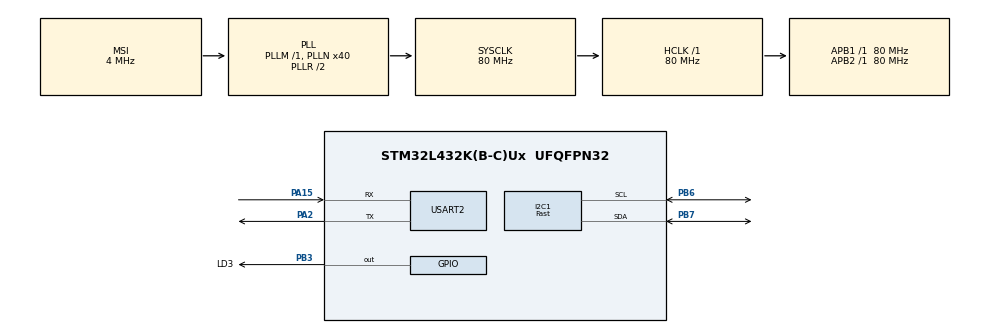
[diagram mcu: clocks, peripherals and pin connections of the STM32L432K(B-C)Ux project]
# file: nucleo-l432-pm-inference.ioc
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I2C1.I2C_Speed_Mode=I2C_Fast
I2C1.Timing=0x00F12981
Mcu.Family=STM32L4
Mcu.Name=STM32L432K(B-C)Ux
Mcu.Package=UFQFPN32
NVIC.PriorityGroup=NVIC_PRIORITYGROUP_4
PA13\ (JTMS-SWDIO).Mode=Serial_Wire
PA13\ (JTMS-SWDIO).Signal=SYS_JTMS-SWDIO
PA14\ (JTCK-SWCLK).Mode=Serial_Wire
PA14\ (JTCK-SWCLK).Signal=SYS_JTCK-SWCLK
PA15\ (JTDI).Mode=Asynchronous
PA15\ (JTDI).Signal=USART2_RX
PA2.Mode=Asynchronous
PA2.Signal=USART2_TX
PB3\ (JTDO-TRACESWO).GPIO_Label=LD3
PB3\ (JTDO-TRACESWO).Signal=GPIO_Output
PB6.GPIO_Pu=GPIO_NOPULL
PB6.Mode=I2C
PB6.Signal=I2C1_SCL
PB7.GPIO_Pu=GPIO_NOPULL
PB7.Mode=I2C
PB7.Signal=I2C1_SDA
PC14-OSC32_IN\ (PC14).Mode=LSE-External-Oscillator
PC14-OSC32_IN\ (PC14).Signal=RCC_OSC32_IN
PC15-OSC32_OUT\ (PC15).Mode=LSE-External-Oscillator
PC15-OSC32_OUT\ (PC15).Signal=RCC_OSC32_OUT
ProjectManager.HeapSize=0x200
ProjectManager.StackSize=0x400
ProjectManager.TargetToolchain=STM32CubeIDE
RCC.AHBFreq_Value=80000000
RCC.APB1Freq_Value=80000000
RCC.APB1TimFreq_Value=80000000
RCC.APB2Freq_Value=80000000
RCC.APB2TimFreq_Value=80000000
RCC.CortexFreq_Value=80000000
RCC.HCLKFreq_Value=80000000
RCC.HSE_VALUE=8000000
RCC.HSI48_VALUE=48000000
RCC.HSI_VALUE=16000000
RCC.MSI_VALUE=4000000
RCC.PLLN=40
RCC.SYSCLKFreq_VALUE=80000000
RCC.SYSCLKSource=RCC_SYSCLKSOURCE_PLLCLK
RCC.VCOOutputFreq_Value=160000000
STMicroelectronics.X-CUBE-AI.10.1.0.ActivationBufferSizeList=2628
STMicroelectronics.X-CUBE-AI.10.1.0.ActivationBuffers=pool0
STMicroelectronics.X-CUBE-AI.10.1.0.ActivationNames=pool0
STMicroelectronics.X-CUBE-AI.10.1.0.ActivationSizes=AI_NETWORK_DATA_ACTIVATION_1_SIZE
STMicroelectronics.X-CUBE-AI.10.1.0.HeapSize=0x800
STMicroelectronics.X-CUBE-AI.10.1.0.InternalRamActivationBufferMaxSize=AI_NETWORK_DATA_ACTIVATIONS_SIZE
STMicroelectronics.X-CUBE-AI.10.1.0.LatestDirectoryUsed-b5e51863015c6a7fd8762baf792bc0065dcf8366301506c651666bcf39f2033d=C\:\\Users\\bausch\\Downloads
STMicroelectronics.X-CUBE-AI.10.1.0.MaximumNumberOfInputLayer=1
STMicroelectronics.X-CUBE-AI.10.1.0.MaximumNumberOfOutputLayer=1
STMicroelectronics.X-CUBE-AI.10.1.0.MaximumSizeOfInputLayer=1
STMicroelectronics.X-CUBE-AI.10.1.0.MaximumSizeOfOutputLayer=1
STMicroelectronics.X-CUBE-AI.10.1.0.ModelActualCompression-b5e51863015c6a7fd8762baf792bc0065dcf8366301506c651666bcf39f2033d=0.0
STMicroelectronics.X-CUBE-AI.10.1.0.ModelCompression-b5e51863015c6a7fd8762baf792bc0065dcf8366301506c651666bcf39f2033d=None
STMicroelectronics.X-CUBE-AI.10.1.0.ModelFlashOccupation-b5e51863015c6a7fd8762baf792bc0065dcf8366301506c651666bcf39f2033d=29796
STMicroelectronics.X-CUBE-AI.10.1.0.ModelHashList=b5e51863015c6a7fd8762baf792bc0065dcf8366301506c651666bcf39f2033d
STMicroelectronics.X-CUBE-AI.10.1.0.ModelKind-b5e51863015c6a7fd8762baf792bc0065dcf8366301506c651666bcf39f2033d=TFLITE
STMicroelectronics.X-CUBE-AI.10.1.0.ModelMacc-b5e51863015c6a7fd8762baf792bc0065dcf8366301506c651666bcf39f2033d=4928
STMicroelectronics.X-CUBE-AI.10.1.0.ModelName-b5e51863015c6a7fd8762baf792bc0065dcf8366301506c651666bcf39f2033d=network
STMicroelectronics.X-CUBE-AI.10.1.0.ModelNameList=network
STMicroelectronics.X-CUBE-AI.10.1.0.ModelRamOccupation-b5e51863015c6a7fd8762baf792bc0065dcf8366301506c651666bcf39f2033d=2628
STMicroelectronics.X-CUBE-AI.10.1.0.ModelStructureFile-b5e51863015c6a7fd8762baf792bc0065dcf8366301506c651666bcf39f2033d=C\:\\Users\\bausch\\Downloads\\predMaintenanceFFT.tflite
STMicroelectronics.X-CUBE-AI.10.1.0.ModelType-b5e51863015c6a7fd8762baf792bc0065dcf8366301506c651666bcf39f2033d=STM32Cube.AI MCU runtime
STMicroelectronics.X-CUBE-AI.10.1.0.ReadyForCodeGeneration=true
STMicroelectronics.X-CUBE-AI.10.1.0.StackSize=0x800
STMicroelectronics.X-CUBE-AI.10.1.0.WorkingBufferStartAddrList=0xFFFFFFFF
STMicroelectronics.X-CUBE-AI.10.1.0.XAaCUBEAaAICcArtificialOoIntelligenceJjCore=true
STMicroelectronics.X-CUBE-AI.10.1.0.copyWeightToRam=false
STMicroelectronics.X-CUBE-AI.10.1.0.customLayerConfigEnabled=false
STMicroelectronics.X-CUBE-AI.10.1.0.noOnnxIoTranspose=false
STMicroelectronics.X-CUBE-AI.10.1.0.useInputAllocation=true
STMicroelectronics.X-CUBE-AI.10.1.0.useOutputAllocation=true
USART2.VirtualMode-Asynchronous=VM_ASYNC
VP_STMicroelectronics.X-CUBE-AI_VS_ArtificialOoIntelligenceJjXAaCUBEAaAI_10.1.0.Mode=ArtificialOoIntelligenceJjXAaCUBEAaAI
board=custom

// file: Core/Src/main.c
/* USER CODE BEGIN Header */
/**
  ******************************************************************************
  * @file           : main.c
  * @brief          : Main program body
  ******************************************************************************
  * @attention
  *
  * Copyright (c) 2025 STMicroelectronics.
  * All rights reserved.
  *
  * This software is licensed under terms that can be found in the LICENSE file
  * in the root directory of this software component.
  * If no LICENSE file comes with this software, it is provided AS-IS.
  *
  ******************************************************************************
  */
/* USER CODE END Header */
#include "main.h"

/* USER CODE BEGIN Includes */
#include <stdio.h>
#include "lis3dh_driver.h"

#include "network.h"
#include "network_data.h"

/* USER CODE END Includes */

/* USER CODE BEGIN PD */

#define BUFFER_LENGTH       256
#define BUFFER_LENGTH_HALF  (BUFFER_LENGTH/2)
#define SAMPLING_RATE       1620

/* USER CODE END PD */

I2C_HandleTypeDef hi2c1;

UART_HandleTypeDef huart2;

/* USER CODE BEGIN PV */

// memory used to hold intermediate values for neural network
AI_ALIGNED(4) ai_u8 activations[AI_NETWORK_DATA_ACTIVATIONS_SIZE];
AI_ALIGNED(4) ai_u8 in_data[AI_NETWORK_IN_1_SIZE_BYTES];
AI_ALIGNED(4) ai_u8 out_data[AI_NETWORK_OUT_1_SIZE_BYTES];

/* USER CODE END PV */

void SystemClock_Config(void);
static void MX_GPIO_Init(void);
static void MX_USART2_UART_Init(void);
static void MX_I2C1_Init(void);
/* USER CODE BEGIN PFP */

static void LIS3DH_Init(void);
/* USER CODE END PFP */

int main(void)
{

  /* USER CODE BEGIN 1 */
  uint8_t i2c_val;

  AxesRaw_t acc;

  float32_t input[BUFFER_LENGTH];
  float32_t fft_output[BUFFER_LENGTH];
  float32_t fft_power[BUFFER_LENGTH_HALF];

  //float32_t freqResolution = (float32_t)SAMPLING_RATE/(float32_t)BUFFER_LENGTH;

  float32_t meanValue = 0.0;              // mean value
  float32_t maxValue  = 0.0;              // max value
  uint32_t  maxIndex;                     // max value index

  uint16_t samplesRead = 0;               // counter for input samples
  uint16_t i;							  // generic counter var

  arm_status                 status;      // fft status
  arm_rfft_fast_instance_f32 fft;         // fft instance

  static const char *fanStatus[] = {
    "Fan clogged (Speed 1)",
    "Fan clogged (Speed 2)",
    "Fan clogged (Speed 3)",
    "Fan idle",
    "Fan normal (Speed 1)",
    "Fan normal (Speed 2)",
    "Fan normal (Speed 3)"
  };

  float aiOutVal[7];

  uint8_t currFanStatus;

  // Zeiger auf Modell
  ai_handle network = AI_HANDLE_NULL;

  // Zeiger auf Ein-/Ausgangsdatenpuffer
  ai_buffer *ai_input;
  ai_buffer *ai_output;

  // Hilfsvariablen
  ai_error err;
  ai_network_report report;
  ai_i32 nbatch;

  /* USER CODE END 1 */

  /* MCU Configuration--------------------------------------------------------*/

  /* Reset of all peripherals, Initializes the Flash interface and the Systick. */
  HAL_Init();

  /* Configure the system clock */
  SystemClock_Config();

  /* Initialize all configured peripherals */
  MX_GPIO_Init();
  MX_USART2_UART_Init();
  MX_I2C1_Init();
  /* USER CODE BEGIN 2 */

  HAL_Delay(3);
  printf("STM32 Predictive Maintenance Demo: Inference\r\n");

  LIS3DH_Init();

  status = arm_rfft_fast_init_f32(&fft, BUFFER_LENGTH);

  if (status != ARM_MATH_SUCCESS) {
    printf("FFT error: %d\r\n", status);
  }

  // Zeiger auf Aktivierungsfunktionen
  const ai_handle acts[] = {activations};

  // Instanz des neuronalen Netzes erzeugen
  err = ai_network_create_and_init(&network, acts, NULL);

  // Prüfen auf Fehler
  if (err.type != AI_ERROR_NONE) {
    printf("Error: ai_gesture_model_create_and_init()\r\n");
  } else {
    printf("Success: model created and initialized\r\n");
  }

  if (ai_network_get_report(network, &report) != true) {
    printf("Error: failed to get report\r\n");
  }

  ai_input  = &report.inputs[0];
  ai_output = &report.outputs[0];

  // Eingänge und Ausgänge mit Modell verbinden
  ai_input[0].data  = AI_HANDLE_PTR(in_data);
  ai_output[0].data = AI_HANDLE_PTR(out_data);

  /* USER CODE END 2 */

  /* Infinite loop */
  while (1)
  {

    /* USER CODE BEGIN 3 */

    // acquire data
    if (samplesRead < BUFFER_LENGTH) {

      // read LIS3DH status register
	    LIS3DH_GetStatusReg(&i2c_val);

      // check if new data is available
	    if (i2c_val & LIS3DH_STATUS_REG_ZYXDA) {

        // get new accelerator data
	      LIS3DH_GetAccAxesRaw(&acc);

        // store new value in buffer
        input[samplesRead] = (float32_t)acc.AXIS_X*SENSITIVITY_2G;

        // increase sample counter
        samplesRead++;
      }
    }

    // process buffer
    else {

      // calc mean value of input buffer
      arm_mean_f32(input, BUFFER_LENGTH, &meanValue);

      // subtract mean value from each input (=de-meaning)
      for (i=0; i<BUFFER_LENGTH; i++) {
        input[i] = input[i]-meanValue;
      }

      // do fast fourier transform
      arm_rfft_fast_f32(&fft, input, fft_output, 0);                      // calc fft values
      arm_cmplx_mag_f32(fft_output, fft_power, BUFFER_LENGTH_HALF);

      // normalize spectrum for inference
      arm_max_f32(fft_power, BUFFER_LENGTH_HALF, &maxValue, &maxIndex);   // find max value in array

      for (i=0; i<BUFFER_LENGTH_HALF; i++) {
        fft_power[i] = fft_power[i]/maxValue;                             // normalize output values
      }

      // for debug output and use with notebook/fftPlot.py
      /*for (i=1; i<BUFFER_LENGTH_HALF; i++) {
        printf("%i,%.1f,%.6f\r\n", i, i*freqResolution, fft_power[i]);
      }*/

      // copy fft_power coeffs into ai input array
      for (i=0; i<BUFFER_LENGTH_HALF; i++) {
        ((ai_float*)in_data)[i] = (ai_float)fft_power[i];
      }

      // start inference
      nbatch = ai_network_run(network, ai_input, ai_output);

      if (nbatch != 1) {
        printf("Error: could not run inference\r\n");
      } else {
        // copy inference data
    	  for (i=0; i<AI_NETWORK_OUT_1_SIZE; i++) {
          aiOutVal[i] = ((float*)out_data)[i];
    	  }
      }

      arm_max_f32(aiOutVal, AI_NETWORK_OUT_1_SIZE, &maxValue, &maxIndex);

      // output status only when changed
      if (currFanStatus != maxIndex) {
        printf("Current fan status: %s\r\n", fanStatus[maxIndex]);
    	  currFanStatus = maxIndex;
      }

      // clear sample counter and start all over again
      samplesRead = 0;
    }

  }
  /* USER CODE END 3 */
}

void SystemClock_Config(void)
{
  RCC_OscInitTypeDef RCC_OscInitStruct = {0};
  RCC_ClkInitTypeDef RCC_ClkInitStruct = {0};

  /** Configure the main internal regulator output voltage
  */
  if (HAL_PWREx_ControlVoltageScaling(PWR_REGULATOR_VOLTAGE_SCALE1) != HAL_OK)
  {
    Error_Handler();
  }

  /** Configure LSE Drive Capability
  */
  HAL_PWR_EnableBkUpAccess();
  __HAL_RCC_LSEDRIVE_CONFIG(RCC_LSEDRIVE_LOW);

  /** Initializes the RCC Oscillators according to the specified parameters
  * in the RCC_OscInitTypeDef structure.
  */
  RCC_OscInitStruct.OscillatorType = RCC_OSCILLATORTYPE_LSE|RCC_OSCILLATORTYPE_MSI;
  RCC_OscInitStruct.LSEState = RCC_LSE_ON;
  RCC_OscInitStruct.MSIState = RCC_MSI_ON;
  RCC_OscInitStruct.MSICalibrationValue = 0;
  RCC_OscInitStruct.MSIClockRange = RCC_MSIRANGE_6;
  RCC_OscInitStruct.PLL.PLLState = RCC_PLL_ON;
  RCC_OscInitStruct.PLL.PLLSource = RCC_PLLSOURCE_MSI;
  RCC_OscInitStruct.PLL.PLLM = 1;
  RCC_OscInitStruct.PLL.PLLN = 40;
  RCC_OscInitStruct.PLL.PLLP = RCC_PLLP_DIV7;
  RCC_OscInitStruct.PLL.PLLQ = RCC_PLLQ_DIV2;
  RCC_OscInitStruct.PLL.PLLR = RCC_PLLR_DIV2;
  if (HAL_RCC_OscConfig(&RCC_OscInitStruct) != HAL_OK)
  {
    Error_Handler();
  }

  /** Initializes the CPU, AHB and APB buses clocks
  */
  RCC_ClkInitStruct.ClockType = RCC_CLOCKTYPE_HCLK|RCC_CLOCKTYPE_SYSCLK
                              |RCC_CLOCKTYPE_PCLK1|RCC_CLOCKTYPE_PCLK2;
  RCC_ClkInitStruct.SYSCLKSource = RCC_SYSCLKSOURCE_PLLCLK;
  RCC_ClkInitStruct.AHBCLKDivider = RCC_SYSCLK_DIV1;
  RCC_ClkInitStruct.APB1CLKDivider = RCC_HCLK_DIV1;
  RCC_ClkInitStruct.APB2CLKDivider = RCC_HCLK_DIV1;

  if (HAL_RCC_ClockConfig(&RCC_ClkInitStruct, FLASH_LATENCY_4) != HAL_OK)
  {
    Error_Handler();
  }

  /** Enable MSI Auto calibration
  */
  HAL_RCCEx_EnableMSIPLLMode();
}

static void MX_I2C1_Init(void)
{

  hi2c1.Instance = I2C1;
  hi2c1.Init.Timing = 0x00F12981;
  hi2c1.Init.OwnAddress1 = 0;
  hi2c1.Init.AddressingMode = I2C_ADDRESSINGMODE_7BIT;
  hi2c1.Init.DualAddressMode = I2C_DUALADDRESS_DISABLE;
  hi2c1.Init.OwnAddress2 = 0;
  hi2c1.Init.OwnAddress2Masks = I2C_OA2_NOMASK;
  hi2c1.Init.GeneralCallMode = I2C_GENERALCALL_DISABLE;
  hi2c1.Init.NoStretchMode = I2C_NOSTRETCH_DISABLE;
  if (HAL_I2C_Init(&hi2c1) != HAL_OK)
  {
    Error_Handler();
  }

  /** Configure Analogue filter
  */
  if (HAL_I2CEx_ConfigAnalogFilter(&hi2c1, I2C_ANALOGFILTER_ENABLE) != HAL_OK)
  {
    Error_Handler();
  }

  /** Configure Digital filter
  */
  if (HAL_I2CEx_ConfigDigitalFilter(&hi2c1, 0) != HAL_OK)
  {
    Error_Handler();
  }

}

static void MX_USART2_UART_Init(void)
{

  huart2.Instance = USART2;
  huart2.Init.BaudRate = 115200;
  huart2.Init.WordLength = UART_WORDLENGTH_8B;
  huart2.Init.StopBits = UART_STOPBITS_1;
  huart2.Init.Parity = UART_PARITY_NONE;
  huart2.Init.Mode = UART_MODE_TX_RX;
  huart2.Init.HwFlowCtl = UART_HWCONTROL_NONE;
  huart2.Init.OverSampling = UART_OVERSAMPLING_16;
  huart2.Init.OneBitSampling = UART_ONE_BIT_SAMPLE_DISABLE;
  huart2.AdvancedInit.AdvFeatureInit = UART_ADVFEATURE_NO_INIT;
  if (HAL_UART_Init(&huart2) != HAL_OK)
  {
    Error_Handler();
  }

}

static void MX_GPIO_Init(void)
{
  GPIO_InitTypeDef GPIO_InitStruct = {0};

  /* GPIO Ports Clock Enable */
  __HAL_RCC_GPIOC_CLK_ENABLE();
  __HAL_RCC_GPIOA_CLK_ENABLE();
  __HAL_RCC_GPIOB_CLK_ENABLE();

  /*Configure GPIO pin Output Level */
  HAL_GPIO_WritePin(LD3_GPIO_Port, LD3_Pin, GPIO_PIN_RESET);

  /*Configure GPIO pin : LD3_Pin */
  GPIO_InitStruct.Pin = LD3_Pin;
  GPIO_InitStruct.Mode = GPIO_MODE_OUTPUT_PP;
  GPIO_InitStruct.Pull = GPIO_NOPULL;
  GPIO_InitStruct.Speed = GPIO_SPEED_FREQ_LOW;
  HAL_GPIO_Init(LD3_GPIO_Port, &GPIO_InitStruct);

}

/* USER CODE BEGIN 4 */

static void LIS3DH_Init(void) {

  uint8_t resp;
  uint8_t id;

  resp = LIS3DH_GetWHO_AM_I(&id);

  if (resp != MEMS_SUCCESS) {
    printf("Error communicating with LIS3DH\r\n");
    Error_Handler();
  }

  if (id != DEVICE_ID_LIS3DH) {
	printf("Unable to find LIS3DH IMU\r\n");
	Error_Handler();
  } else {
	printf("Found LIS3DH IMU sensor\r\n");
  }

  // setup LIS3DH sensor
  LIS3DH_SetODR(LIS3DH_ODR_1620Hz_LP);                                    // set output data rate to 1.62kHz
  LIS3DH_SetMode(LIS3DH_NORMAL);
  LIS3DH_SetFullScale(LIS3DH_FULLSCALE_2);	                              // set acc to -2...+2 G
  LIS3DH_SetAxis(LIS3DH_X_ENABLE | LIS3DH_Y_ENABLE | LIS3DH_Z_ENABLE);    // enable sensor
}

int _write(int fd, char * ptr, int len) {

  HAL_UART_Transmit(&huart2, (uint8_t *) ptr, len, HAL_MAX_DELAY);
  return len;
}

/* USER CODE END 4 */

void Error_Handler(void)
{
  __disable_irq();
  while (1)
  {
  }
}
